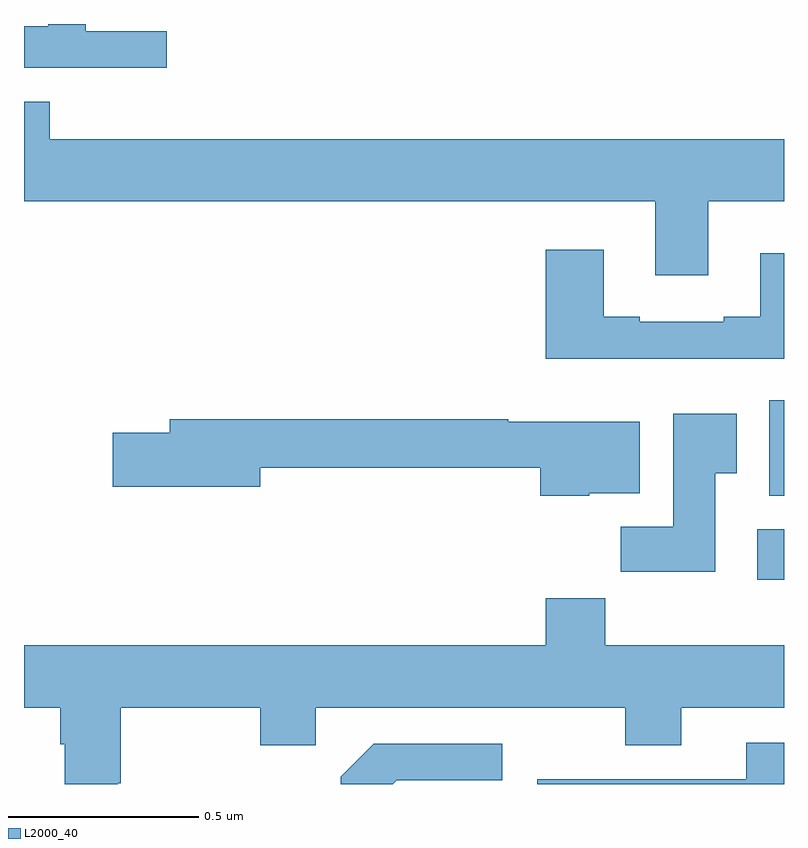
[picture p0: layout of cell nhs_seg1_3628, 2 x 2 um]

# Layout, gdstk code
import gdstk
lib = gdstk.Library(unit=1e-6, precision=1e-09)
def R(c, l, rs):  # rectangles x0, y0, x1, y1
    for r in rs: c.add(gdstk.rectangle(r[:2], r[2:], *l))
def P(c, l, *ps):  # polygons
    for p in ps: c.add(gdstk.Polygon(p, *l))
L2000_40 = (2000, 40)

nhs_seg1_3628 = lib.new_cell('nhs_seg1_3628')
R(nhs_seg1_3628, L2000_40, [(157.929,550.736,158,550.87), (157.961,550.958,158,551.209)])
P(nhs_seg1_3628, L2000_40, [(156.376,552.18),(156.162,552.18),(156.162,552.199),(156.064,552.199),(156.064,552.193),(156,552.193),(156,552.084),(156.376,552.084)],
  [(157.801,551.732),(158,551.732),(158,551.896),(156.068,551.896),(156.068,551.995),(156,551.995),(156,551.732),(157.661,551.732),(157.661,551.538),(157.801,551.538)],
  [(158,551.596),(157.937,551.596),(157.937,551.428),(157.841,551.428),(157.841,551.415),(157.621,551.415),(157.621,551.428),(157.525,551.428),(157.525,551.605),(157.373,551.605),(157.373,551.318),(158,551.318)],
  [(157.819,551.017),(157.876,551.017),(157.876,551.173),(157.709,551.173),(157.709,550.876),(157.57,550.876),(157.57,550.758),(157.819,550.758)],
  [(157.488,550.964),(157.621,550.964),(157.621,551.152),(157.274,551.152),(157.274,551.159),(156.383,551.159),(156.383,551.123),(156.234,551.123),(156.234,550.981),(156.622,550.981),(156.622,551.031),(157.358,551.031),(157.358,550.958),(157.488,550.958)],
  [(156,550.4),(156.095,550.4),(156.095,550.304),(156.107,550.304),(156.107,550.199),(156.247,550.199),(156.247,550.201),(156.255,550.201),(156.255,550.4),(156.622,550.4),(156.622,550.301),(156.768,550.301),(156.768,550.4),(157.582,550.4),(157.582,550.301),(157.729,550.301),(157.729,550.4),(158,550.4),(158,550.564),(157.529,550.564),(157.529,550.688),(157.373,550.688),(157.373,550.564),(156,550.564)],
  [(158,550.308),(157.901,550.308),(157.901,550.212),(157.35,550.212),(157.35,550.199),(158,550.199)],
  [(156.981,550.209),(157.258,550.209),(157.258,550.305),(156.921,550.305),(156.834,550.218),(156.834,550.199),(156.971,550.199)])

lib.write_gds('nhs_seg1_3628.gds')
